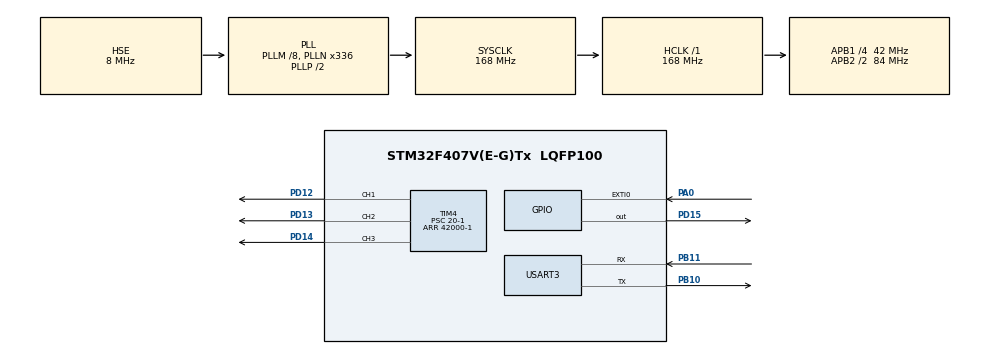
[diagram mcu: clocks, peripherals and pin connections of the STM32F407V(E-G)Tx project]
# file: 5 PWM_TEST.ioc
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Mcu.Family=STM32F4
Mcu.Name=STM32F407V(E-G)Tx
Mcu.Package=LQFP100
NVIC.EXTI0_IRQn=true\:0\:0\:false\:true\:true\:3\:true
NVIC.PriorityGroup=NVIC_PRIORITYGROUP_4
NVIC.USART3_IRQn=true\:0\:0\:false\:true\:true\:1\:true
PA0-WKUP.GPIO_PuPd=GPIO_PULLDOWN
PA0-WKUP.Signal=GPXTI0
PB10.Mode=Asynchronous
PB10.Signal=USART3_TX
PB11.Mode=Asynchronous
PB11.Signal=USART3_RX
PD12.Signal=S_TIM4_CH1
PD13.Signal=S_TIM4_CH2
PD14.Signal=S_TIM4_CH3
PD15.Signal=GPIO_Output
PH0-OSC_IN.Mode=HSE-External-Oscillator
PH0-OSC_IN.Signal=RCC_OSC_IN
PH1-OSC_OUT.Mode=HSE-External-Oscillator
PH1-OSC_OUT.Signal=RCC_OSC_OUT
ProjectManager.HeapSize=0x200
ProjectManager.StackSize=0x400
ProjectManager.TargetToolchain=TrueSTUDIO
RCC.48MHZClocksFreq_Value=84000000
RCC.AHBFreq_Value=168000000
RCC.APB1CLKDivider=RCC_HCLK_DIV4
RCC.APB1Freq_Value=42000000
RCC.APB1TimFreq_Value=84000000
RCC.APB2CLKDivider=RCC_HCLK_DIV2
RCC.APB2Freq_Value=84000000
RCC.APB2TimFreq_Value=168000000
RCC.CortexFreq_Value=168000000
RCC.HCLKFreq_Value=168000000
RCC.HSE_VALUE=8000000
RCC.HSI_VALUE=16000000
RCC.LSE_VALUE=32768
RCC.PLLM=8
RCC.PLLN=336
RCC.PLLSourceVirtual=RCC_PLLSOURCE_HSE
RCC.SYSCLKFreq_VALUE=168000000
RCC.SYSCLKSource=RCC_SYSCLKSOURCE_PLLCLK
RCC.VCOOutputFreq_Value=336000000
SH.S_TIM4_CH1.0=TIM4_CH1,PWM Generation1 CH1
SH.S_TIM4_CH2.0=TIM4_CH2,PWM Generation2 CH2
SH.S_TIM4_CH3.0=TIM4_CH3,PWM Generation3 CH3
TIM4.Channel-PWM\ Generation1\ CH1=TIM_CHANNEL_1
TIM4.Channel-PWM\ Generation2\ CH2=TIM_CHANNEL_2
TIM4.Channel-PWM\ Generation3\ CH3=TIM_CHANNEL_3
TIM4.Period=42000-1
TIM4.Prescaler=20-1
TIM4.Pulse-PWM\ Generation1\ CH1=21000-1
TIM4.Pulse-PWM\ Generation2\ CH2=10500-1
TIM4.Pulse-PWM\ Generation3\ CH3=5250-1
USART3.VirtualMode=VM_ASYNC
board=custom

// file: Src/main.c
/**
  ******************************************************************************
  * @file           : main.c
  * @brief          : Main program body
  ******************************************************************************
  ** This notice applies to any and all portions of this file
  * that are not between comment pairs USER CODE BEGIN and
  * USER CODE END. Other portions of this file, whether
  * inserted by the user or by software development tools
  * are owned by their respective copyright owners.
  *
  * COPYRIGHT(c) 2019 STMicroelectronics
  *
  * Redistribution and use in source and binary forms, with or without modification,
  * are permitted provided that the following conditions are met:
  *   1. Redistributions of source code must retain the above copyright notice,
  *      this list of conditions and the following disclaimer.
  *   2. Redistributions in binary form must reproduce the above copyright notice,
  *      this list of conditions and the following disclaimer in the documentation
  *      and/or other materials provided with the distribution.
  *   3. Neither the name of STMicroelectronics nor the names of its contributors
  *      may be used to endorse or promote products derived from this software
  *      without specific prior written permission.
  *
  * THIS SOFTWARE IS PROVIDED BY THE COPYRIGHT HOLDERS AND CONTRIBUTORS "AS IS"
  * AND ANY EXPRESS OR IMPLIED WARRANTIES, INCLUDING, BUT NOT LIMITED TO, THE
  * IMPLIED WARRANTIES OF MERCHANTABILITY AND FITNESS FOR A PARTICULAR PURPOSE ARE
  * DISCLAIMED. IN NO EVENT SHALL THE COPYRIGHT HOLDER OR CONTRIBUTORS BE LIABLE
  * FOR ANY DIRECT, INDIRECT, INCIDENTAL, SPECIAL, EXEMPLARY, OR CONSEQUENTIAL
  * DAMAGES (INCLUDING, BUT NOT LIMITED TO, PROCUREMENT OF SUBSTITUTE GOODS OR
  * SERVICES; LOSS OF USE, DATA, OR PROFITS; OR BUSINESS INTERRUPTION) HOWEVER
  * CAUSED AND ON ANY THEORY OF LIABILITY, WHETHER IN CONTRACT, STRICT LIABILITY,
  * OR TORT (INCLUDING NEGLIGENCE OR OTHERWISE) ARISING IN ANY WAY OUT OF THE USE
  * OF THIS SOFTWARE, EVEN IF ADVISED OF THE POSSIBILITY OF SUCH DAMAGE.
  *
  ******************************************************************************
  */
#include "main.h"
#include "stm32f4xx_hal.h"
#include "tim.h"
#include "usart.h"
#include "gpio.h"

/* USER CODE BEGIN Includes */
#include <stdio.h>
/* USER CODE END Includes */

/* USER CODE BEGIN PV */
/* Private variables ---------------------------------------------------------*/
uint8_t rx3_data;

/* USER CODE END PV */

void SystemClock_Config(void);
static void MX_NVIC_Init(void);

/* USER CODE BEGIN PFP */
/* Private function prototypes -----------------------------------------------*/
int _write(int file, char* p, int len)
{
  HAL_UART_Transmit(&huart3, p, len, 10);
  return len;
}

/* USER CODE END PFP */

int main(void)
{

  /* MCU Configuration----------------------------------------------------------*/

  /* Reset of all peripherals, Initializes the Flash interface and the Systick. */
  HAL_Init();

  /* Configure the system clock */
  SystemClock_Config();

  /* Initialize all configured peripherals */
  MX_GPIO_Init();
  MX_USART3_UART_Init();
  MX_TIM4_Init();

  /* Initialize interrupts */
  MX_NVIC_Init();
  /* USER CODE BEGIN 2 */
  HAL_GPIO_WritePin(GPIOD, GPIO_PIN_12, RESET);
  HAL_GPIO_WritePin(GPIOD, GPIO_PIN_13, RESET);
  HAL_GPIO_WritePin(GPIOD, GPIO_PIN_14, RESET);
  HAL_GPIO_WritePin(GPIOD, GPIO_PIN_15, RESET);

  HAL_UART_Receive_IT(&huart3, &rx3_data, 1);

  HAL_TIM_PWM_Start(&htim4, TIM_CHANNEL_1);
  HAL_TIM_PWM_Start(&htim4, TIM_CHANNEL_2);
  HAL_TIM_PWM_Start(&htim4, TIM_CHANNEL_3);
  /* USER CODE END 2 */

  /* Infinite loop */
  /* USER CODE BEGIN WHILE */
  uint16_t ccr = 0;

  while (1)
  {
    //__HAL_TIM_SET_COMPARE(&htim4, TIM_CHANNEL_1, ccr);
    TIM4->CCR1 = ccr;
    ccr += 1000;
    if(ccr > TIM4->ARR)
    {
      ccr = 0;
    }
    HAL_Delay(50);
  /* USER CODE END WHILE */

  }

}

void SystemClock_Config(void)
{

  RCC_OscInitTypeDef RCC_OscInitStruct;
  RCC_ClkInitTypeDef RCC_ClkInitStruct;

    /**Configure the main internal regulator output voltage
    */
  __HAL_RCC_PWR_CLK_ENABLE();

  __HAL_PWR_VOLTAGESCALING_CONFIG(PWR_REGULATOR_VOLTAGE_SCALE1);

    /**Initializes the CPU, AHB and APB busses clocks
    */
  RCC_OscInitStruct.OscillatorType = RCC_OSCILLATORTYPE_HSE;
  RCC_OscInitStruct.HSEState = RCC_HSE_ON;
  RCC_OscInitStruct.PLL.PLLState = RCC_PLL_ON;
  RCC_OscInitStruct.PLL.PLLSource = RCC_PLLSOURCE_HSE;
  RCC_OscInitStruct.PLL.PLLM = 8;
  RCC_OscInitStruct.PLL.PLLN = 336;
  RCC_OscInitStruct.PLL.PLLP = RCC_PLLP_DIV2;
  RCC_OscInitStruct.PLL.PLLQ = 4;
  if (HAL_RCC_OscConfig(&RCC_OscInitStruct) != HAL_OK)
  {
    _Error_Handler(__FILE__, __LINE__);
  }

    /**Initializes the CPU, AHB and APB busses clocks
    */
  RCC_ClkInitStruct.ClockType = RCC_CLOCKTYPE_HCLK|RCC_CLOCKTYPE_SYSCLK
                              |RCC_CLOCKTYPE_PCLK1|RCC_CLOCKTYPE_PCLK2;
  RCC_ClkInitStruct.SYSCLKSource = RCC_SYSCLKSOURCE_PLLCLK;
  RCC_ClkInitStruct.AHBCLKDivider = RCC_SYSCLK_DIV1;
  RCC_ClkInitStruct.APB1CLKDivider = RCC_HCLK_DIV4;
  RCC_ClkInitStruct.APB2CLKDivider = RCC_HCLK_DIV2;

  if (HAL_RCC_ClockConfig(&RCC_ClkInitStruct, FLASH_LATENCY_5) != HAL_OK)
  {
    _Error_Handler(__FILE__, __LINE__);
  }

    /**Configure the Systick interrupt time
    */
  HAL_SYSTICK_Config(HAL_RCC_GetHCLKFreq()/1000);

    /**Configure the Systick
    */
  HAL_SYSTICK_CLKSourceConfig(SYSTICK_CLKSOURCE_HCLK);

  /* SysTick_IRQn interrupt configuration */
  HAL_NVIC_SetPriority(SysTick_IRQn, 0, 0);
}

/**
  * @brief NVIC Configuration.
  * @retval None
  */
static void MX_NVIC_Init(void)
{
  /* USART3_IRQn interrupt configuration */
  HAL_NVIC_SetPriority(USART3_IRQn, 0, 0);
  HAL_NVIC_EnableIRQ(USART3_IRQn);
  /* EXTI0_IRQn interrupt configuration */
  HAL_NVIC_SetPriority(EXTI0_IRQn, 0, 0);
  HAL_NVIC_EnableIRQ(EXTI0_IRQn);
}

/* USER CODE BEGIN 4 */
void HAL_UART_RxCpltCallback(UART_HandleTypeDef *huart)
{
  if(huart->Instance == USART3)
  {
    HAL_UART_Receive_IT(&huart3, &rx3_data, 1);
    HAL_UART_Transmit(&huart3, &rx3_data, 1, 10);
  }
}

void HAL_TIM_PeriodElapsedCallback(TIM_HandleTypeDef *htim)
{
  if(htim->Instance == TIM7)
  {
    HAL_GPIO_TogglePin(GPIOD, GPIO_PIN_12);
  }
}

void HAL_GPIO_EXTI_Callback(uint16_t GPIO_Pin)
{
  if(GPIO_Pin == GPIO_PIN_0)
  {
    HAL_GPIO_TogglePin(GPIOD, GPIO_PIN_13);
  }
}
/* USER CODE END 4 */

void _Error_Handler(char *file, int line)
{
  while(1)
  {
  }
}

/************************ (C) COPYRIGHT STMicroelectronics *****END OF FILE****/
